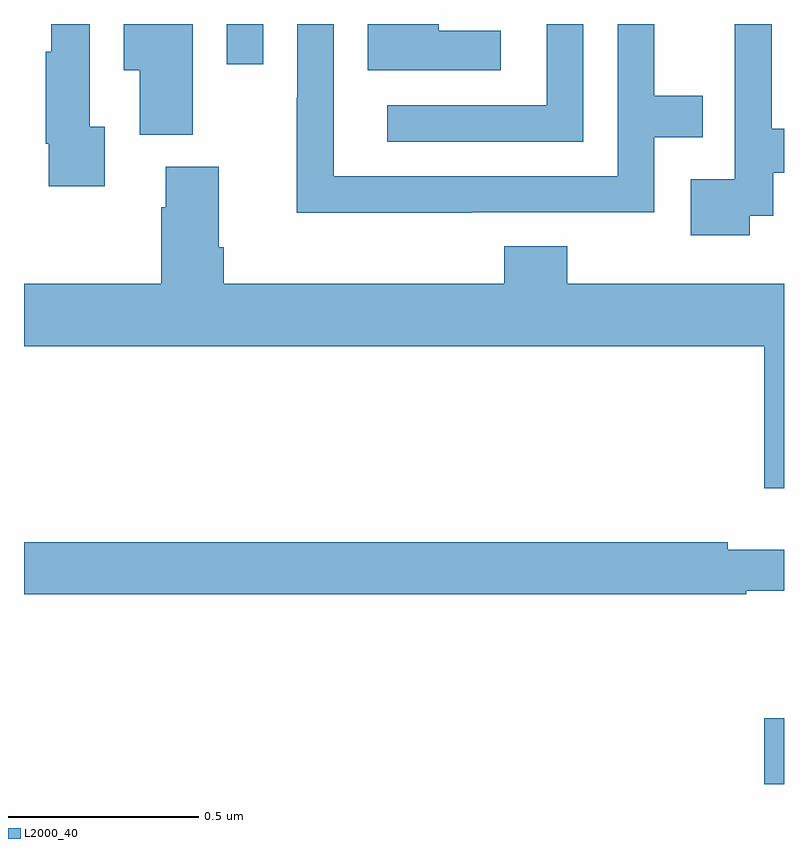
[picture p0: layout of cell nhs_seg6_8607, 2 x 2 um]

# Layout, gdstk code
import gdstk
lib = gdstk.Library(unit=1e-6, precision=1e-09)
def R(c, l, rs):  # rectangles x0, y0, x1, y1
    for r in rs: c.add(gdstk.rectangle(r[:2], r[2:], *l))
def P(c, l, *ps):  # polygons
    for p in ps: c.add(gdstk.Polygon(p, *l))
L2000_40 = (2000, 40)

nhs_seg6_8607 = lib.new_cell('nhs_seg6_8607')
R(nhs_seg6_8607, L2000_40, [(224.948,963.5,225,963.673), (223.533,965.394,223.629,965.5)])
P(nhs_seg6_8607, L2000_40, [(224.18,965.004),(224.658,965.004),(224.658,965.202),(224.786,965.202),(224.786,965.311),(224.659,965.311),(224.659,965.5),(224.562,965.5),(224.562,965.1),(223.815,965.1),(223.815,965.5),(223.719,965.5),(223.719,965.306),(223.718,965.306),(223.718,965.003),(224.18,965.003)],
  [(224.91,964.995),(224.972,964.995),(224.972,965.109),(225,965.109),(225,965.225),(224.968,965.225),(224.968,965.5),(224.87,965.5),(224.87,965.395),(224.871,965.395),(224.871,965.091),(224.754,965.091),(224.754,964.944),(224.91,964.944)],
  [(223.444,965.5),(223.262,965.5),(223.262,965.378),(223.304,965.378),(223.304,965.209),(223.444,965.209)],
  [(224.472,965.5),(224.376,965.5),(224.376,965.286),(223.956,965.286),(223.956,965.19),(224.472,965.19)],
  [(224.254,965.482),(224.091,965.482),(224.091,965.5),(223.904,965.5),(223.904,965.378),(224.254,965.378)],
  [(223.213,965.229),(223.173,965.229),(223.173,965.5),(223.072,965.5),(223.072,965.427),(223.057,965.427),(223.057,965.185),(223.065,965.185),(223.065,965.073),(223.213,965.073)],
  [(225,964.816),(224.429,964.816),(224.429,964.915),(224.264,964.915),(224.264,964.816),(223.526,964.816),(223.526,964.912),(223.513,964.912),(223.513,965.124),(223.373,965.124),(223.373,965.018),(223.361,965.018),(223.361,964.816),(223,964.816),(223,964.652),(224.948,964.652),(224.948,964.278),(225,964.278)],
  [(224.9,964.008),(225,964.008),(225,964.117),(224.852,964.117),(224.852,964.136),(223,964.136),(223,964),(224.9,964)])

lib.write_gds('nhs_seg6_8607.gds')
